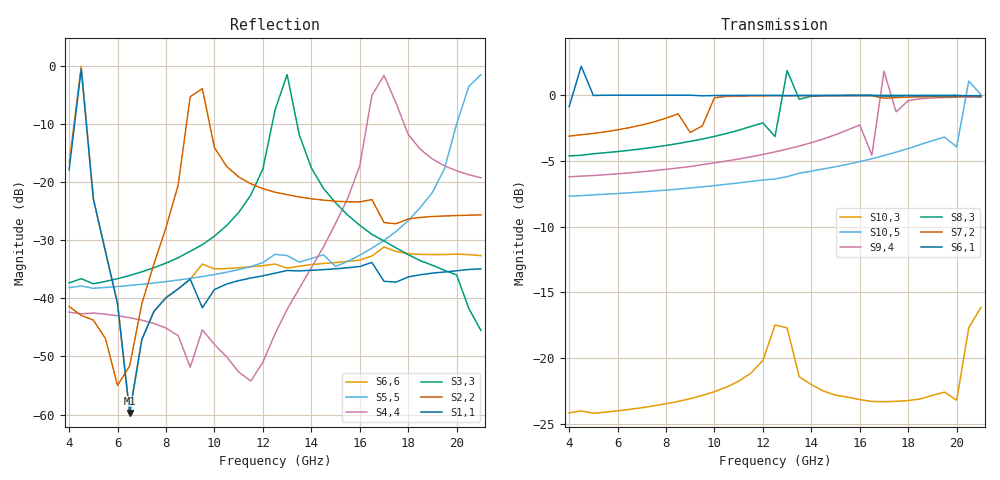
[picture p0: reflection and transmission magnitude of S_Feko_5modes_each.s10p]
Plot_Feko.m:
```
%% Data From Feko

data5 = read(rfdata.data,'S_Feko_5modes_each.s10p');
s_params_5 = extract(data5,'S_PARAMETERS');

%% Data from MM from MATLAB Script Wg2.m

% <<<<<<< HEAD
C_5 = load('Srr2_ratio_1_modes_20_fc_align.mat');
% =======
% C_5 = load('Srr2_ratio_2_modes_3_fc_align.mat');
% >>>>>>> cca7b2d7ed2d1ce0e950719caf42fcc496cc3dac

GSM_5 = C_5.Srr;

%% Frequency axis

F = 2e9:0.5e9:10e9;
F1 = 4e9:0.5e9:21e9;

%% Plot Amplitude of S parameters

figure;


% <<<<<<< HEAD
% plot(F * 1e-9, db(abs(squeeze(s_params_5(4, 4, :))))/2, 'LineWidth', 2); grid on;
% =======
plot(F1 * 1e-9, db(abs(squeeze(s_params_5(6, 6, :))))/2, 'LineWidth', 2); grid on;
% >>>>>>> cca7b2d7ed2d1ce0e950719caf42fcc496cc3dac
hold on;
plot(F1 * 1e-9, db(abs(squeeze(GSM_5(:, 1, 1))))/2, '-.', 'LineWidth', 2); grid on;


xlabel('Frequency (GHz)', 'FontSize', 12, 'FontWeight', 'bold');
ylabel('S in  dB', 'FontSize', 12, 'FontWeight', 'bold');
title(['S Parameter'], 'FontSize', 12, 'FontWeight', 'bold');

legend({'S_{RR} of TE_{11}, 5 modes active Feko', 'S_{RR} of TE_{11}, 5 modes active MM'},...
   'FontSize', 12, 'FontWeight', 'bold');
xlim([5 21]);

%% Plot Phase of S parameters

% <<<<<<< HEAD
% Phase_Feko = (angle(squeeze((s_params_5(4, 4, :))))) * 180/pi;
% =======
Phase_Feko = (angle(squeeze((s_params_5(6, 6, :))))) * 180/pi;
% >>>>>>> cca7b2d7ed2d1ce0e950719caf42fcc496cc3dac
Phase_MM =  (angle(squeeze((GSM_5(:, 1, 1))))) * 180/pi;


figure;
plot(F1 * 1e-9, Phase_Feko, 'LineWidth', 2); grid on;
hold on;
plot(F1 * 1e-9, Phase_MM, 'LineWidth', 2); grid on;

xlabel('Frequency (GHz)', 'FontSize', 12, 'FontWeight', 'bold');
ylabel('Phase S in deg', 'FontSize', 12, 'FontWeight', 'bold');
title(['S Parameter Phase'], 'FontSize', 12, 'FontWeight', 'bold');

legend({'S_{RR} of TE_{11}, 5 modes active Feko', 'S_{RR} of TE_{11}, 5 modes active MM'},...
   'FontSize', 12, 'FontWeight', 'bold');
xlim([5 21]);
```
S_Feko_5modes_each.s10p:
! S-parameter export from POSTFEKO
! Filename: circular_2wg_5modes
! Creation date: 2019-12-28 12:44:53
# GHz S MA R  5.0000000E+01
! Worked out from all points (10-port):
!   35 points, 4 GHz to 21 GHz, reference 50 ohm
!   strongest paths, dB at 4 GHz, 8 GHz, 12.5 GHz, 17 GHz, 21 GHz:
!     S6,1: -0.9, 0.0, 0.0, -0.1, 0.0
!     S7,2: -3.1, -1.8, 0.0, -0.2, -0.1
!     S8,3: -4.6, -3.8, -3.1, 0.0, -0.1
!     S9,4: -6.2, -5.6, -4.3, 1.8, -0.1
!     S10,5: -7.7, -7.2, -6.4, -4.6, 0.0
!     S10,3: -24.1, -23.5, -17.5, -23.3, -16.1
!   lowest |S11| = -59.7 dB at 6.5 GHz (marker M1), VSWR 1.00, Z = 50 + j0.0959 ohm
!   |S11| at or under -10 dB: start of sweep to 4.226 GHz; 4.713 GHz to end of sweep
